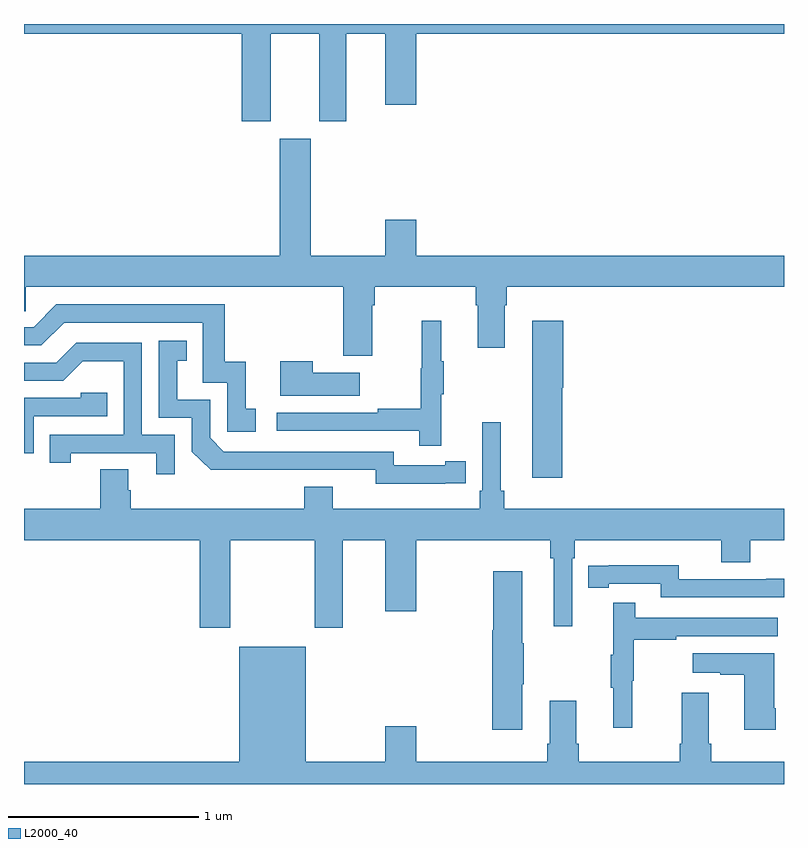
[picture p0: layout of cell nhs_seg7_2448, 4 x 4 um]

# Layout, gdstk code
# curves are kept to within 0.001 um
import gdstk
lib = gdstk.Library(unit=1e-6, precision=1e-09)
def P(c, l, *ps):  # polygons
    for p in ps: c.add(gdstk.Polygon(p, *l))
L2000_40 = (2000, 40)

nhs_seg7_2448 = lib.new_cell('nhs_seg7_2448')
P(nhs_seg7_2448, L2000_40, [(272.299,1001.948),(272.555,1001.948),(272.555,1001.487),(272.695,1001.487),(272.695,1001.948),(272.9,1001.948),(272.9,1001.574),(273.064,1001.574),(273.064,1001.948),(275,1001.948),(275,1002),(271,1002),(271,1001.948),(272.147,1001.948),(272.147,1001.487),(272.299,1001.487)],
  [(272.833,1000.52),(272.846,1000.52),(272.846,1000.616),(273.377,1000.616),(273.377,1000.52),(273.389,1000.52),(273.389,1000.296),(273.529,1000.296),(273.529,1000.52),(273.542,1000.52),(273.542,1000.616),(275,1000.616),(275,1000.78),(273.064,1000.78),(273.064,1000.969),(272.9,1000.969),(272.9,1000.78),(272.509,1000.78),(272.509,1001.395),(272.345,1001.395),(272.345,1000.78),(271,1000.78),(271,1000.489),(271.008,1000.489),(271.008,1000.616),(272.681,1000.616),(272.681,1000.254),(272.833,1000.254)],
  [(272.221,999.975),(272.168,999.975),(272.168,1000.222),(272.057,1000.222),(272.057,1000.524),(271.17,1000.524),(271.05,1000.404),(271,1000.404),(271,1000.308),(271.092,1000.308),(271.212,1000.428),(271.941,1000.428),(271.941,1000.113),(272.07,1000.113),(272.07,999.855),(272.221,999.855)],
  [(273.197,1000.051),(273.208,1000.051),(273.208,1000.225),(273.197,1000.225),(273.197,1000.438),(273.094,1000.438),(273.094,1000.188),(273.087,1000.188),(273.087,999.974),(272.863,999.974),(272.863,999.954),(272.331,999.954),(272.331,999.858),(273.079,999.858),(273.079,999.78),(273.197,999.78)],
  [(273.833,1000.086),(273.838,1000.086),(273.838,1000.438),(273.674,1000.438),(273.674,999.612),(273.833,999.612)],
  [(273.218,999.582),(273.326,999.582),(273.326,999.698),(273.218,999.698),(273.218,999.678),(272.946,999.678),(272.946,999.75),(272.052,999.75),(271.98,999.822),(271.98,1000.023),(271.807,1000.023),(271.807,1000.227),(271.856,1000.227),(271.856,1000.333),(271.71,1000.333),(271.71,999.927),(271.884,999.927),(271.884,999.75),(271.982,999.653),(272.85,999.654),(272.85,999.581)],
  [(271.794,999.837),(271.62,999.837),(271.62,1000.323),(271.274,1000.323),(271.169,1000.218),(271,1000.218),(271,1000.122),(271.206,1000.122),(271.31,1000.226),(271.524,1000.226),(271.524,999.837),(271.135,999.837),(271.135,999.69),(271.246,999.69),(271.246,999.741),(271.697,999.741),(271.697,999.63),(271.794,999.63)],
  [(272.767,1000.165),(272.519,1000.165),(272.519,1000.225),(272.348,1000.225),(272.348,1000.043),(272.767,1000.043)],
  [(271.05,999.936),(271.439,999.936),(271.439,1000.059),(271.299,1000.059),(271.299,1000.032),(271,1000.032),(271,999.741),(271.05,999.741)],
  [(272.085,999.284),(272.53,999.284),(272.53,998.823),(272.677,998.823),(272.677,999.284),(272.9,999.284),(272.9,998.91),(273.064,998.91),(273.064,999.284),(273.769,999.284),(273.769,999.188),(273.788,999.188),(273.788,998.829),(273.885,998.829),(273.885,999.188),(273.899,999.188),(273.899,999.284),(274.67,999.284),(274.67,999.167),(274.823,999.167),(274.823,999.284),(275,999.284),(275,999.448),(273.527,999.448),(273.527,999.544),(273.508,999.544),(273.508,999.904),(273.411,999.904),(273.411,999.544),(273.398,999.544),(273.398,999.448),(272.626,999.448),(272.626,999.565),(272.474,999.565),(272.474,999.448),(271.562,999.448),(271.562,999.546),(271.549,999.546),(271.549,999.656),(271.402,999.656),(271.402,999.448),(271,999.448),(271,999.284),(271.925,999.284),(271.925,998.823),(272.085,998.823)],
  [(275,999.08),(274.906,999.08),(274.906,999.078),(274.446,999.078),(274.446,999.151),(274.078,999.151),(274.078,999.15),(273.97,999.15),(273.97,999.034),(274.078,999.034),(274.078,999.054),(274.35,999.054),(274.35,998.982),(275,998.982)],
  [(273.622,998.524),(273.63,998.524),(273.63,998.741),(273.622,998.741),(273.622,999.121),(273.469,999.121),(273.469,998.808),(273.464,998.808),(273.464,998.286),(273.622,998.286)],
  [(274.202,998.544),(274.21,998.544),(274.21,998.758),(274.433,998.758),(274.433,998.778),(274.966,998.778),(274.966,998.874),(274.217,998.874),(274.217,998.953),(274.1,998.953),(274.1,998.681),(274.089,998.681),(274.089,998.507),(274.1,998.507),(274.1,998.295),(274.202,998.295)],
  [(275,998.116),(274.616,998.116),(274.616,998.212),(274.603,998.212),(274.603,998.479),(274.463,998.479),(274.463,998.212),(274.451,998.212),(274.451,998.116),(273.92,998.116),(273.92,998.212),(273.907,998.212),(273.907,998.437),(273.767,998.437),(273.767,998.212),(273.755,998.212),(273.755,998.116),(273.064,998.116),(273.064,998.305),(272.9,998.305),(272.9,998.116),(272.482,998.116),(272.482,998.722),(272.132,998.722),(272.132,998.116),(271,998.116),(271,998),(275,998)],
  [(274.956,998.398),(274.948,998.398),(274.948,998.689),(274.521,998.689),(274.521,998.585),(274.664,998.585),(274.664,998.575),(274.79,998.575),(274.79,998.286),(274.956,998.286)])

lib.write_gds('nhs_seg7_2448.gds')
